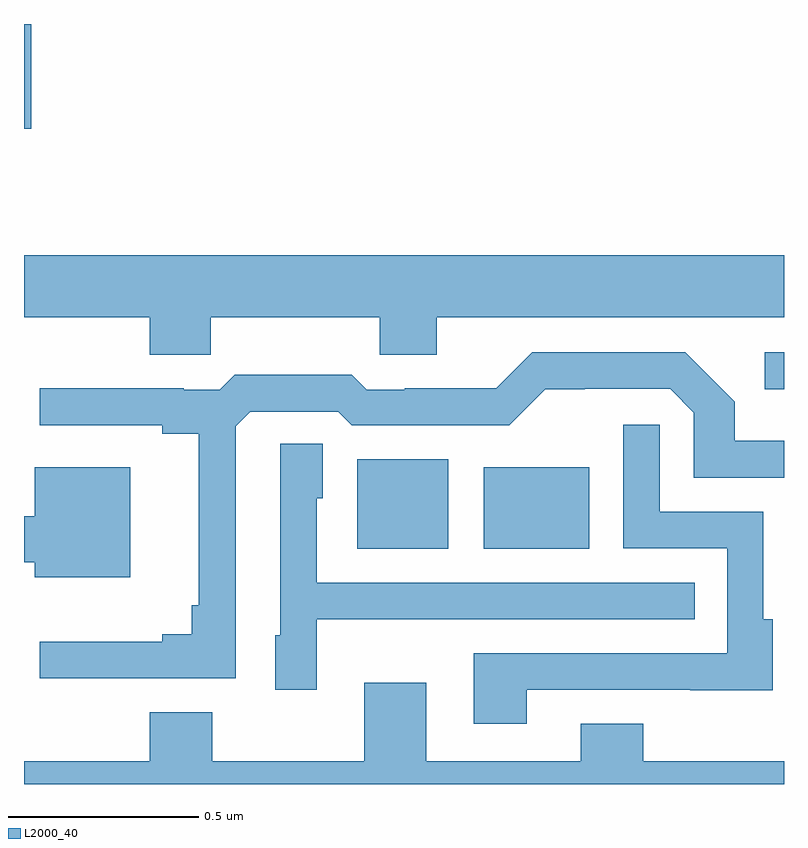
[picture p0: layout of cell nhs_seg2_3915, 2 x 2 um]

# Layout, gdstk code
import gdstk
lib = gdstk.Library(unit=1e-6, precision=1e-09)
def R(c, l, rs):  # rectangles x0, y0, x1, y1
    for r in rs: c.add(gdstk.rectangle(r[:2], r[2:], *l))
def P(c, l, *ps):  # polygons
    for p in ps: c.add(gdstk.Polygon(p, *l))
L2000_40 = (2000, 40)

nhs_seg2_3915 = lib.new_cell('nhs_seg2_3915')
R(nhs_seg2_3915, L2000_40, [(160.877,588.419,161.116,588.655), (161.21,588.419,161.488,588.634), (161.949,588.839,162,588.936), (160,589.524,160.019,589.8)])
P(nhs_seg2_3915, L2000_40, [(160.491,589.028),(160.936,589.028),(160.936,588.93),(161.086,588.93),(161.086,589.028),(162,589.028),(162,589.192),(160,589.192),(160,589.028),(160.331,589.028),(160.331,588.93),(160.491,588.93)],
  [(160.557,588.741),(160.596,588.78),(160.827,588.78),(160.863,588.744),(161.277,588.744),(161.372,588.839),(161.476,588.839),(161.476,588.84),(161.7,588.84),(161.763,588.777),(161.763,588.606),(162,588.606),(162,588.703),(161.871,588.703),(161.871,588.806),(161.74,588.936),(161.337,588.936),(161.243,588.842),(161.002,588.842),(161.002,588.837),(160.902,588.837),(160.863,588.877),(160.555,588.877),(160.515,588.837),(160.421,588.837),(160.421,588.842),(160.041,588.842),(160.041,588.744),(160.364,588.744),(160.364,588.722),(160.46,588.722),(160.46,588.271),(160.441,588.271),(160.441,588.194),(160.364,588.194),(160.364,588.175),(160.041,588.175),(160.041,588.078),(160.557,588.078)],
  [(161.323,588.048),(161.753,588.048),(161.753,588.047),(161.971,588.047),(161.971,588.234),(161.946,588.234),(161.946,588.516),(161.673,588.516),(161.673,588.745),(161.577,588.745),(161.577,588.42),(161.85,588.42),(161.85,588.144),(161.183,588.144),(161.183,587.958),(161.323,587.958)],
  [(160.77,588.233),(161.087,588.233),(161.087,588.234),(161.765,588.234),(161.765,588.33),(160.77,588.33),(160.77,588.552),(160.786,588.552),(160.786,588.695),(160.674,588.695),(160.674,588.192),(160.661,588.192),(160.661,588.048),(160.77,588.048)],
  [(160.279,588.634),(160.028,588.634),(160.028,588.505),(160,588.505),(160,588.383),(160.028,588.383),(160.028,588.344),(160.279,588.344)],
  [(162,587.86),(161.629,587.86),(161.629,587.959),(161.465,587.959),(161.465,587.86),(161.059,587.86),(161.059,588.067),(160.895,588.067),(160.895,587.86),(160.495,587.86),(160.495,587.989),(160.331,587.989),(160.331,587.86),(160,587.86),(160,587.8),(162,587.8)])

lib.write_gds('nhs_seg2_3915.gds')
